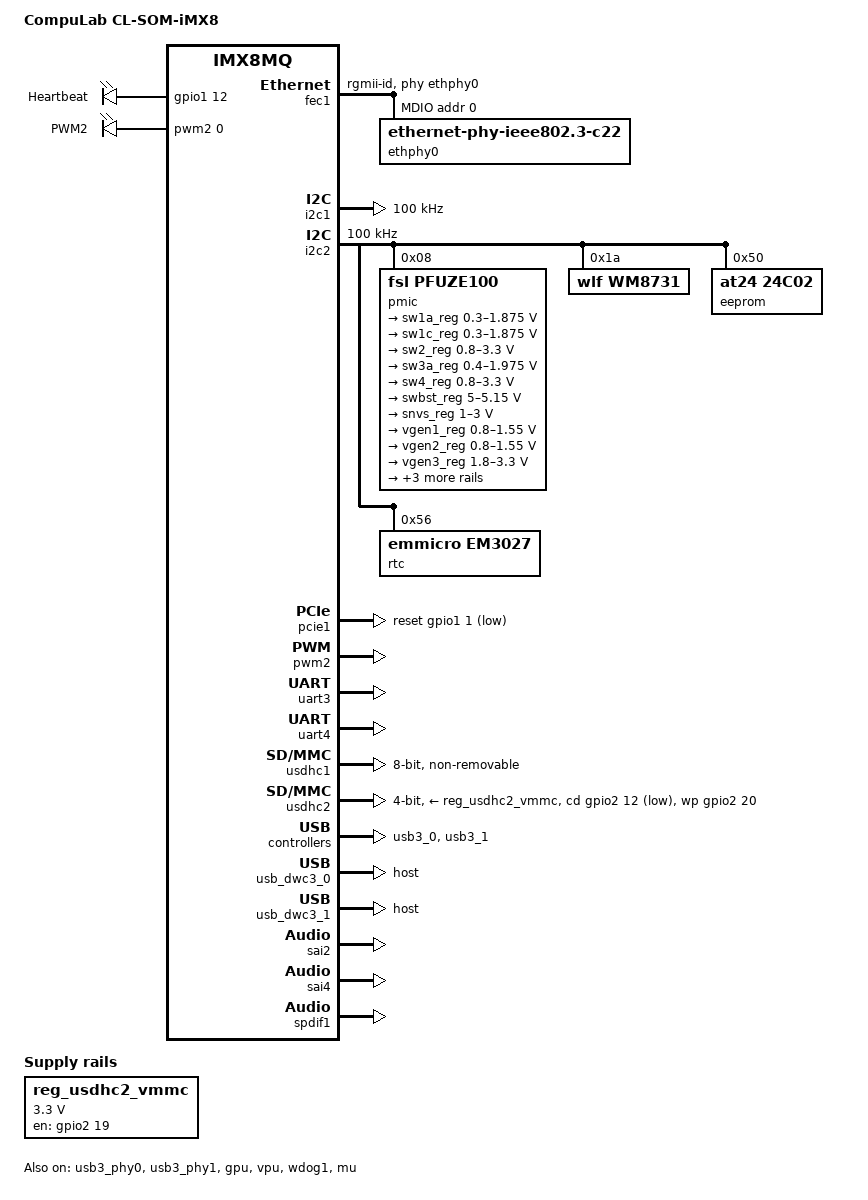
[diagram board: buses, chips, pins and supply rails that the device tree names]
/*
 * Copyright (C) 2017 CopuLab Ltd.
 *
 * This program is free software; you can redistribute it and/or
 * modify it under the terms of the GNU General Public License
 * as published by the Free Software Foundation; either version 2
 * of the License, or (at your option) any later version.
 *
 * This program is distributed in the hope that it will be useful,
 * but WITHOUT ANY WARRANTY; without even the implied warranty of
 * MERCHANTABILITY or FITNESS FOR A PARTICULAR PURPOSE.  See the
 * GNU General Public License for more details.
 */

/dts-v1/;

#include "fsl-imx8mq.dtsi"

/ {
	model = "CompuLab CL-SOM-iMX8";
	compatible = "compulab,cl-som-imx8", "fsl,imx8mq";

	bcmdhd_wlan_0: bcmdhd_wlan@0 {
		compatible = "android,bcmdhd_wlan";
		bcmdhd_fw = "/lib/firmware/bcm/1CX_BCM4356/fw_bcmdhd.bin";
		bcmdhd_nv = "/lib/firmware/bcm/1CX_BCM4356/bcmdhd.cal";
	};

	chosen {
		bootargs = "console=ttymxc2,115200 earlycon=ec_imx6q,0x30880000,115200";
		stdout-path = &uart3;
	};

	leds {
		compatible = "gpio-leds";
		heartbeat-led {
			label = "Heartbeat";
			gpios = <&gpio1 12 0>;
			linux,default-trigger = "heartbeat";
		};
	};

	regulators {
		compatible = "simple-bus";
		#address-cells = <1>;
		#size-cells = <0>;

		reg_usdhc2_vmmc: usdhc2_vmmc {
			compatible = "regulator-fixed";
			regulator-name = "VSD_3V3";
			regulator-min-microvolt = <3300000>;
			regulator-max-microvolt = <3300000>;
			gpio = <&gpio2 19 GPIO_ACTIVE_HIGH>;
			enable-active-high;
		};
	};

	simple_sound: sound {
		compatible = "simple-audio-card";
		simple-audio-card,name = "cl-som-imx8";
		simple-audio-card,widgets =
			"Headphone", "Headphone Jack",
			"Line", "Line Out",
			"Microphone", "Mic Jack",
			"Line", "Line In";
		simple-audio-card,routing =
			"Headphone Jack", "RHPOUT",
			"Headphone Jack", "LHPOUT",
			"MICIN", "Mic Bias",
			"Mic Bias", "Mic Jack";
		simple-audio-card,format = "i2s";
		simple-audio-card,bitclock-master = <&sound_master>;
		simple-audio-card,frame-master = <&sound_master>;
		simple-audio-card,bitclock-inversion;

		sound_master: simple-audio-card,cpu {
			sound-dai = <&sai2>;
			system-clock-frequency = <0>;
			system-clock-direction = "out";
		};

		simple-audio-card,codec {
			sound-dai = <&wm8731>;
			system-clock-direction = "in";
			system-clock-type = "mclk";
		};

	};

	sound-hdmi {
		compatible = "fsl,imx-audio-cdnhdmi";
		model = "imx-audio-hdmi";
		audio-cpu = <&sai4>;
		protocol = <0>;
	};

	sound-spdif {
		compatible = "fsl,imx-audio-spdif";
		model = "imx-spdif";
		spdif-controller = <&spdif1>;
		spdif-out;
		spdif-in;
	};

	sound-hdmi-arc {
		compatible = "fsl,imx-audio-spdif";
		model = "imx-hdmi-arc";
		spdif-controller = <&spdif2>;
		spdif-in;
		status = "disabled";
	};

	pwmleds {
		compatible = "pwm-leds";

		ledpwm2 {
			label = "PWM2";
			pwms = <&pwm2 0 50000>;
			max-brightness = <255>;
		};
	};
};

&clk {
	assigned-clocks = <&clk IMX8MQ_AUDIO_PLL1>;
	assigned-clock-rates = <786432000>;
};

&iomuxc {
	pinctrl-names = "default";
	pinctrl-0 = <&pinctrl_hog>;

	cl-som-imx8 {
		pinctrl_hog: hoggrp {
			fsl,pins = <
				MX8MQ_IOMUXC_GPIO1_IO12_GPIO1_IO12	0x16
			>;
		};

		pinctrl_fec1: fec1grp {
			fsl,pins = <
				MX8MQ_IOMUXC_ENET_MDC_ENET1_MDC		0x3
				MX8MQ_IOMUXC_ENET_MDIO_ENET1_MDIO	0x23
				MX8MQ_IOMUXC_ENET_TD3_ENET1_RGMII_TD3	0x1f
				MX8MQ_IOMUXC_ENET_TD2_ENET1_RGMII_TD2	0x1f
				MX8MQ_IOMUXC_ENET_TD1_ENET1_RGMII_TD1	0x1f
				MX8MQ_IOMUXC_ENET_TD0_ENET1_RGMII_TD0	0x1f
				MX8MQ_IOMUXC_ENET_RD3_ENET1_RGMII_RD3	0x91
				MX8MQ_IOMUXC_ENET_RD2_ENET1_RGMII_RD2	0x91
				MX8MQ_IOMUXC_ENET_RD1_ENET1_RGMII_RD1	0x91
				MX8MQ_IOMUXC_ENET_RD0_ENET1_RGMII_RD0	0x91
				MX8MQ_IOMUXC_ENET_TXC_ENET1_RGMII_TXC	0x1f
				MX8MQ_IOMUXC_ENET_RXC_ENET1_RGMII_RXC	0x91
				MX8MQ_IOMUXC_ENET_RX_CTL_ENET1_RGMII_RX_CTL	0x91
				MX8MQ_IOMUXC_ENET_TX_CTL_ENET1_RGMII_TX_CTL	0x1f
				MX8MQ_IOMUXC_GPIO1_IO09_GPIO1_IO9	0x19
			>;
		};

		pinctrl_i2c1: i2c1grp {
			fsl,pins = <
				MX8MQ_IOMUXC_I2C1_SCL_I2C1_SCL			0x4000007f
				MX8MQ_IOMUXC_I2C1_SDA_I2C1_SDA			0x4000007f
			>;
		};

		pinctrl_i2c2: i2c2grp {
			fsl,pins = <
				MX8MQ_IOMUXC_I2C2_SCL_I2C2_SCL			0x4000007f
				MX8MQ_IOMUXC_I2C2_SDA_I2C2_SDA			0x4000007f
			>;
		};


		pinctrl_pcie0: pcie0grp {
			fsl,pins = <
				MX8MQ_IOMUXC_I2C4_SCL_GPIO5_IO20	0x16
				MX8MQ_IOMUXC_UART4_TXD_GPIO5_IO29	0x16
				MX8MQ_IOMUXC_UART4_RXD_GPIO5_IO28	0x16
			>;
		};

		pinctrl_pcie1: pcie1grp {
			fsl,pins = <
				MX8MQ_IOMUXC_GPIO1_IO02_GPIO1_IO2	0x16 /* WIFI clkreq-gpio  pin#39 */
				MX8MQ_IOMUXC_SAI3_RXC_GPIO4_IO29 	0x16 /* WIFI disable-gpio pin#41 */
				MX8MQ_IOMUXC_GPIO1_IO01_GPIO1_IO1	0x16 /* WIFI rest-gpio    pin#23 */

				MX8MQ_IOMUXC_GPIO1_IO03_GPIO1_IO3	0x16
				MX8MQ_IOMUXC_GPIO1_IO00_ANAMIX_REF_CLK_32K 0x16
			>;
		};

		pinctrl_pwm2: pwm2grp {
			fsl,pins = <
				MX8MQ_IOMUXC_GPIO1_IO13_PWM2_OUT	0x16
			>;
		};

		pinctrl_dvfs: dvfsgrp {
			fsl,pins = <
				MX8MQ_IOMUXC_GPIO1_IO13_GPIO1_IO13	0x16
			>;
		};

		pinctrl_typec: typecgrp {
			fsl,pins = <
				MX8MQ_IOMUXC_NAND_RE_B_GPIO3_IO15	0x16
				MX8MQ_IOMUXC_NAND_CE2_B_GPIO3_IO3	0x17059
			>;
		};

		pinctrl_uart1: uart1grp {
			fsl,pins = <
				MX8MQ_IOMUXC_UART1_RXD_UART1_DCE_RX		0x79
				MX8MQ_IOMUXC_UART1_TXD_UART1_DCE_TX		0x79
			>;
		};

		pinctrl_uart3: uart3grp {
			fsl,pins = <
				MX8MQ_IOMUXC_UART3_TXD_UART3_DCE_TX		0x79
				MX8MQ_IOMUXC_UART3_RXD_UART3_DCE_RX		0x79
				MX8MQ_IOMUXC_ECSPI1_MISO_UART3_DCE_CTS_B	0x79
				MX8MQ_IOMUXC_ECSPI1_SS0_UART3_DCE_RTS_B		0x79
				MX8MQ_IOMUXC_NAND_CLE_GPIO3_IO5			0x19
			>;
		};

		pinctrl_uart4: uart4grp {
			fsl,pins = <
				MX8MQ_IOMUXC_ECSPI2_MOSI_UART4_DCE_TX		0x79
				MX8MQ_IOMUXC_ECSPI2_SCLK_UART4_DCE_RX		0x79
				MX8MQ_IOMUXC_ECSPI2_MISO_UART4_DCE_CTS_B	0x79
				MX8MQ_IOMUXC_ECSPI2_SS0_UART4_DCE_RTS_B		0x79
				MX8MQ_IOMUXC_GPIO1_IO04_GPIO1_IO4		0x19
				MX8MQ_IOMUXC_GPIO1_IO05_GPIO1_IO5		0x19
			>;
		};

		pinctrl_usdhc1: usdhc1grp {
			fsl,pins = <
				MX8MQ_IOMUXC_SD1_CLK_USDHC1_CLK			0x83
				MX8MQ_IOMUXC_SD1_CMD_USDHC1_CMD			0xc3
				MX8MQ_IOMUXC_SD1_DATA0_USDHC1_DATA0		0xc3
				MX8MQ_IOMUXC_SD1_DATA1_USDHC1_DATA1		0xc3
				MX8MQ_IOMUXC_SD1_DATA2_USDHC1_DATA2		0xc3
				MX8MQ_IOMUXC_SD1_DATA3_USDHC1_DATA3		0xc3
				MX8MQ_IOMUXC_SD1_DATA4_USDHC1_DATA4		0xc3
				MX8MQ_IOMUXC_SD1_DATA5_USDHC1_DATA5		0xc3
				MX8MQ_IOMUXC_SD1_DATA6_USDHC1_DATA6		0xc3
				MX8MQ_IOMUXC_SD1_DATA7_USDHC1_DATA7		0xc3
				MX8MQ_IOMUXC_SD1_STROBE_USDHC1_STROBE 		0x83
				MX8MQ_IOMUXC_SD1_RESET_B_USDHC1_RESET_B		0xc1
			>;
		};

		pinctrl_usdhc1_100mhz: usdhc1grp100mhz {
			fsl,pins = <
				MX8MQ_IOMUXC_SD1_CLK_USDHC1_CLK			0x85
				MX8MQ_IOMUXC_SD1_CMD_USDHC1_CMD			0xc5
				MX8MQ_IOMUXC_SD1_DATA0_USDHC1_DATA0		0xc5
				MX8MQ_IOMUXC_SD1_DATA1_USDHC1_DATA1		0xc5
				MX8MQ_IOMUXC_SD1_DATA2_USDHC1_DATA2		0xc5
				MX8MQ_IOMUXC_SD1_DATA3_USDHC1_DATA3		0xc5
				MX8MQ_IOMUXC_SD1_DATA4_USDHC1_DATA4		0xc5
				MX8MQ_IOMUXC_SD1_DATA5_USDHC1_DATA5		0xc5
				MX8MQ_IOMUXC_SD1_DATA6_USDHC1_DATA6		0xc5
				MX8MQ_IOMUXC_SD1_DATA7_USDHC1_DATA7		0xc5
				MX8MQ_IOMUXC_SD1_STROBE_USDHC1_STROBE 		0x85
				MX8MQ_IOMUXC_SD1_RESET_B_USDHC1_RESET_B		0xc1
			>;
		};

		pinctrl_usdhc1_200mhz: usdhc1grp200mhz {
			fsl,pins = <
				MX8MQ_IOMUXC_SD1_CLK_USDHC1_CLK			0x87
				MX8MQ_IOMUXC_SD1_CMD_USDHC1_CMD			0xc7
				MX8MQ_IOMUXC_SD1_DATA0_USDHC1_DATA0		0xc7
				MX8MQ_IOMUXC_SD1_DATA1_USDHC1_DATA1		0xc7
				MX8MQ_IOMUXC_SD1_DATA2_USDHC1_DATA2		0xc7
				MX8MQ_IOMUXC_SD1_DATA3_USDHC1_DATA3		0xc7
				MX8MQ_IOMUXC_SD1_DATA4_USDHC1_DATA4		0xc7
				MX8MQ_IOMUXC_SD1_DATA5_USDHC1_DATA5		0xc7
				MX8MQ_IOMUXC_SD1_DATA6_USDHC1_DATA6		0xc7
				MX8MQ_IOMUXC_SD1_DATA7_USDHC1_DATA7		0xc7
				MX8MQ_IOMUXC_SD1_STROBE_USDHC1_STROBE 		0x87
				MX8MQ_IOMUXC_SD1_RESET_B_USDHC1_RESET_B		0xc1
			>;
		};

		pinctrl_usdhc2_gpio: usdhc2grpgpio {
			fsl,pins = <
				MX8MQ_IOMUXC_SD2_WP_GPIO2_IO20		0x41
				MX8MQ_IOMUXC_SD2_CD_B_GPIO2_IO12	0x41
				MX8MQ_IOMUXC_SD2_RESET_B_GPIO2_IO19	0x41
			>;
		};

		pinctrl_usdhc2: usdhc2grp {
			fsl,pins = <
				MX8MQ_IOMUXC_SD2_CLK_USDHC2_CLK			0x83
				MX8MQ_IOMUXC_SD2_CMD_USDHC2_CMD			0xc3
				MX8MQ_IOMUXC_SD2_DATA0_USDHC2_DATA0		0xc3
				MX8MQ_IOMUXC_SD2_DATA1_USDHC2_DATA1		0xc3
				MX8MQ_IOMUXC_SD2_DATA2_USDHC2_DATA2		0xc3
				MX8MQ_IOMUXC_SD2_DATA3_USDHC2_DATA3		0xc3
			>;
		};

		pinctrl_usdhc2_100mhz: usdhc2grp100mhz {
			fsl,pins = <
				MX8MQ_IOMUXC_SD2_CLK_USDHC2_CLK			0x85
				MX8MQ_IOMUXC_SD2_CMD_USDHC2_CMD			0xc5
				MX8MQ_IOMUXC_SD2_DATA0_USDHC2_DATA0		0xc5
				MX8MQ_IOMUXC_SD2_DATA1_USDHC2_DATA1		0xc5
				MX8MQ_IOMUXC_SD2_DATA2_USDHC2_DATA2		0xc5
				MX8MQ_IOMUXC_SD2_DATA3_USDHC2_DATA3		0xc5
			>;
		};

		pinctrl_usdhc2_200mhz: usdhc2grp200mhz {
			fsl,pins = <
				MX8MQ_IOMUXC_SD2_CLK_USDHC2_CLK			0x87
				MX8MQ_IOMUXC_SD2_CMD_USDHC2_CMD			0xc7
				MX8MQ_IOMUXC_SD2_DATA0_USDHC2_DATA0		0xc7
				MX8MQ_IOMUXC_SD2_DATA1_USDHC2_DATA1		0xc7
				MX8MQ_IOMUXC_SD2_DATA2_USDHC2_DATA2		0xc7
				MX8MQ_IOMUXC_SD2_DATA3_USDHC2_DATA3		0xc7
			>;
		};

		pinctrl_sai2: sai2grp {
			fsl,pins = <
				MX8MQ_IOMUXC_SAI2_TXFS_SAI2_TX_SYNC	0xd6
				MX8MQ_IOMUXC_SAI2_TXC_SAI2_TX_BCLK	0xd6
				MX8MQ_IOMUXC_SAI2_MCLK_SAI2_MCLK	0xd6
				MX8MQ_IOMUXC_SAI2_TXD0_SAI2_TX_DATA0	0xd6
				MX8MQ_IOMUXC_GPIO1_IO08_GPIO1_IO8	0xd6
			>;
		};

		pinctrl_spdif1: spdif1grp {
			fsl,pins = <
				MX8MQ_IOMUXC_SPDIF_TX_SPDIF1_OUT	0xd6
				MX8MQ_IOMUXC_SPDIF_RX_SPDIF1_IN		0xd6
			>;
		};
	};
};

&fec1 {
	pinctrl-names = "default";
	pinctrl-0 = <&pinctrl_fec1>;
	phy-mode = "rgmii-id";
	phy-handle = <&ethphy0>;
	fsl,magic-packet;
	status = "okay";

	mdio {
		#address-cells = <1>;
		#size-cells = <0>;

		ethphy0: ethernet-phy@0 {
			compatible = "ethernet-phy-ieee802.3-c22";
			reg = <0>;
			at803x,led-act-blind-workaround;
			at803x,eee-disabled;
		};
	};
};

&i2c1 {
	clock-frequency = <100000>;
	pinctrl-names = "default";
	pinctrl-0 = <&pinctrl_i2c1>;
	status = "okay";
};

&i2c2 {
	clock-frequency = <100000>;
	pinctrl-names = "default";
	pinctrl-0 = <&pinctrl_i2c2>;
	status = "okay";

	pmic: pfuze100@08 {
		compatible = "fsl,pfuze100";
		reg = <0x08>;

		regulators {
			sw1a_reg: sw1ab {
				regulator-min-microvolt = <300000>;
				regulator-max-microvolt = <1875000>;
				regulator-always-on;
			};

			sw1c_reg: sw1c {
				regulator-min-microvolt = <300000>;
				regulator-max-microvolt = <1875000>;
				regulator-always-on;
			};

			sw2_reg: sw2 {
				regulator-min-microvolt = <800000>;
				regulator-max-microvolt = <3300000>;
				regulator-always-on;
			};

			sw3a_reg: sw3ab {
				regulator-min-microvolt = <400000>;
				regulator-max-microvolt = <1975000>;
				regulator-always-on;
			};

			sw4_reg: sw4 {
				regulator-min-microvolt = <800000>;
				regulator-max-microvolt = <3300000>;
				regulator-always-on;
			};

			swbst_reg: swbst {
				regulator-min-microvolt = <5000000>;
				regulator-max-microvolt = <5150000>;
			};

			snvs_reg: vsnvs {
				regulator-min-microvolt = <1000000>;
				regulator-max-microvolt = <3000000>;
				regulator-always-on;
			};

			vref_reg: vrefddr {
				regulator-always-on;
			};

			vgen1_reg: vgen1 {
				regulator-min-microvolt = <800000>;
				regulator-max-microvolt = <1550000>;
			};

			vgen2_reg: vgen2 {
				regulator-min-microvolt = <800000>;
				regulator-max-microvolt = <1550000>;
				regulator-always-on;
			};

			vgen3_reg: vgen3 {
				regulator-min-microvolt = <1800000>;
				regulator-max-microvolt = <3300000>;
				regulator-always-on;
			};

			vgen4_reg: vgen4 {
				regulator-min-microvolt = <1800000>;
				regulator-max-microvolt = <3300000>;
				regulator-always-on;
			};

			vgen5_reg: vgen5 {
				regulator-min-microvolt = <1800000>;
				regulator-max-microvolt = <3300000>;
				regulator-always-on;
			};

			vgen6_reg: vgen6 {
				regulator-min-microvolt = <1800000>;
				regulator-max-microvolt = <3300000>;
			};
		};
	};

	wm8731: wm8731@1a {
		#sound-dai-cells = <0>;
		compatible = "wlf,wm8731";
		reg = <0x1a>;
		status = "okay";
	};

	eeprom@50 {
		compatible = "at24,24c02";
		reg = <0x50>;
		pagesize = <16>;
	};

	rtc@56 {
		compatible = "emmicro,em3027";
		reg = <0x56>;
	};

};

#if 0
&pcie0{
	pinctrl-names = "default";
	pinctrl-0 = <&pinctrl_pcie0>;
	clkreq-gpio = <&gpio5 20 GPIO_ACTIVE_LOW>;
	disable-gpio = <&gpio5 29 GPIO_ACTIVE_LOW>;
	reset-gpio = <&gpio5 28 GPIO_ACTIVE_LOW>;
	status = "okay";
};
#endif

&pcie1{
	pinctrl-names = "default";
	pinctrl-0 = <&pinctrl_pcie1>;
	clkreq-gpio = <&gpio1 2 GPIO_ACTIVE_LOW>;   /* pin#39 */
	disable-gpio = <&gpio4 29 GPIO_ACTIVE_LOW>; /* pin#41 */
	reset-gpio = <&gpio1 1 GPIO_ACTIVE_LOW>;    /* pin#23 */
	ext_osc = <0>;
	hard-wired = <1>;
	status = "okay";
};

&pwm2 {
	pinctrl-names = "default";
	pinctrl-0 = <&pinctrl_pwm2>;
	status = "okay";
};

&uart3 { /* console */
	pinctrl-names = "default";
	pinctrl-0 = <&pinctrl_uart3>;
	assigned-clocks = <&clk IMX8MQ_CLK_UART3_SRC>;
	assigned-clock-parents = <&clk IMX8MQ_CLK_25M>;
	status = "okay";
};

&uart4 { /* BT */
	pinctrl-names = "default";
	pinctrl-0 = <&pinctrl_uart4>;
	assigned-clocks = <&clk IMX8MQ_CLK_UART4_SRC>;
	assigned-clock-parents = <&clk IMX8MQ_SYS1_PLL_80M>;
	fsl,uart-has-rtscts;
	status = "okay";
};

&usdhc1 {
	pinctrl-names = "default", "state_100mhz", "state_200mhz";
	pinctrl-0 = <&pinctrl_usdhc1>;
	pinctrl-1 = <&pinctrl_usdhc1_100mhz>;
	pinctrl-2 = <&pinctrl_usdhc1_200mhz>;
	bus-width = <8>;
	non-removable;
	status = "okay";
};

&usdhc2 {
	pinctrl-names = "default", "state_100mhz", "state_200mhz";
	pinctrl-0 = <&pinctrl_usdhc2>, <&pinctrl_usdhc2_gpio>;
	pinctrl-1 = <&pinctrl_usdhc2_100mhz>, <&pinctrl_usdhc2_gpio>;
	pinctrl-2 = <&pinctrl_usdhc2_200mhz>, <&pinctrl_usdhc2_gpio>;
	bus-width = <4>;
	cd-gpios = <&gpio2 12 GPIO_ACTIVE_LOW>;
	wp-gpios = <&gpio2 20 GPIO_ACTIVE_HIGH>;
	vmmc-supply = <&reg_usdhc2_vmmc>;
	no-1-8-v;
	status = "okay";
};

&usb3_phy0 {
	status = "okay";
};

&usb3_0 {
	status = "okay";
};

&usb_dwc3_0 {
	status = "okay";
	dr_mode = "host";
};

&usb3_phy1 {
	status = "okay";
};

&usb3_1 {
	status = "okay";
};

&usb_dwc3_1 {
	status = "okay";
	dr_mode = "host";
};

&sai2 {
	#sound-dai-cells = <0>;
	pinctrl-names = "default";
	pinctrl-0 = <&pinctrl_sai2>;
	assigned-clocks = <&clk IMX8MQ_CLK_SAI2_SRC>,
			<&clk IMX8MQ_CLK_SAI2_DIV>;
	assigned-clock-parents = <&clk IMX8MQ_AUDIO_PLL1_OUT>;
	assigned-clock-rates = <0>, <24576000>;
	status = "okay";
};

&sai4 {
	assigned-clocks = <&clk IMX8MQ_CLK_SAI4_SRC>,
			<&clk IMX8MQ_CLK_SAI4_DIV>;
	assigned-clock-parents = <&clk IMX8MQ_AUDIO_PLL1_OUT>;
	assigned-clock-rates = <0>, <24576000>;
	status = "okay";
};

&spdif1 {
	pinctrl-names = "default";
	pinctrl-0 = <&pinctrl_spdif1>;
	assigned-clocks = <&clk IMX8MQ_CLK_SPDIF1_SRC>,
			<&clk IMX8MQ_CLK_SPDIF1_DIV>;
	assigned-clock-parents = <&clk IMX8MQ_AUDIO_PLL1_OUT>;
	assigned-clock-rates = <0>, <24576000>;
	status = "okay";
};

&gpu {
	status = "okay";
};

&vpu {
	status = "okay";
};

&wdog1 {
	fsl,ext-reset-output;
	status = "okay";
};

&mu {
	status = "okay";
};

&cpu_alert0 {
	temperature = <125000>;
};

&cpu_crit0 {
	temperature = <165000>;
};
